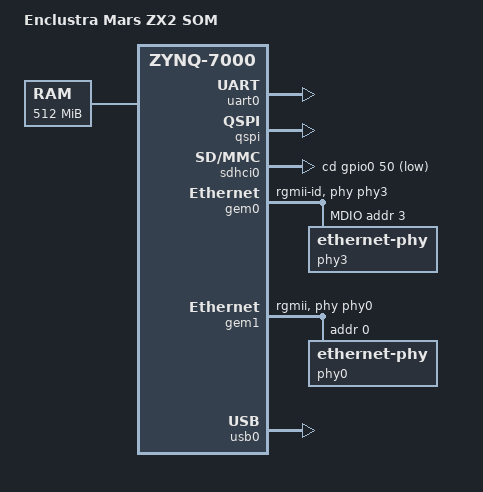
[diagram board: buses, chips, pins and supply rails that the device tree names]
/*
 * Enclustra Mars ZX2 SOM devicetree
 *
 * Copyright (C) 2015 Antmicro Ltd
 *
 * SPDX-License-Identifier:	GPL-2.0+
 */
/dts-v1/;
#include "zynq-7000.dtsi"
#include <dt-bindings/gpio/gpio.h>

/ {
	model = "Enclustra Mars ZX2 SOM";
	compatible = "xlnx,zynq-7000";

	aliases {
		ethernet0 = &gem0;
		ethernet1 = &gem1;
		mmc0 = &sdhci0;
		serial0 = &uart0;
		spi0 = &qspi;
		usb0 = &usb0;
		gpio0 = &gpio0;
	};

	memory {
		device_type = "memory";
		reg = <0 0x20000000>;
	};




};

&uart0 {
	u-boot,dm-pre-reloc;
	status = "okay";
};

&qspi {
	u-boot,dm-pre-reloc;
	status = "okay";
	is-dual = <0>;
	num-cs = <1>;
};

&sdhci0 {
	u-boot,dm-pre-reloc;
	status = "okay";
	cd-gpios = <&gpio0 50 GPIO_ACTIVE_LOW>;
};

&gem0 {
	u-boot,dm-pre-reloc;
	status = "okay";
	phy-mode = "rgmii-id";
	phy-handle = <&phy3>;
	ps7_ethernet_0_mdio: mdio {
        	#address-cells = <1>;
        	#size-cells = <0>;
		phy3: ethernet-phy@3 {
			device_type = "ethernet-phy";
      			reg = <3>;
     		};
	};

};
&gem1 {
	phy-handle = <&phy0>;
	phy-mode = "rgmii";
	status = "okay";
	phy0: ethernet-phy@0 {
		device_type = "ethernet-phy";
		reg = <0>;
	};
};

&usb0 {
	status = "okay";
};

